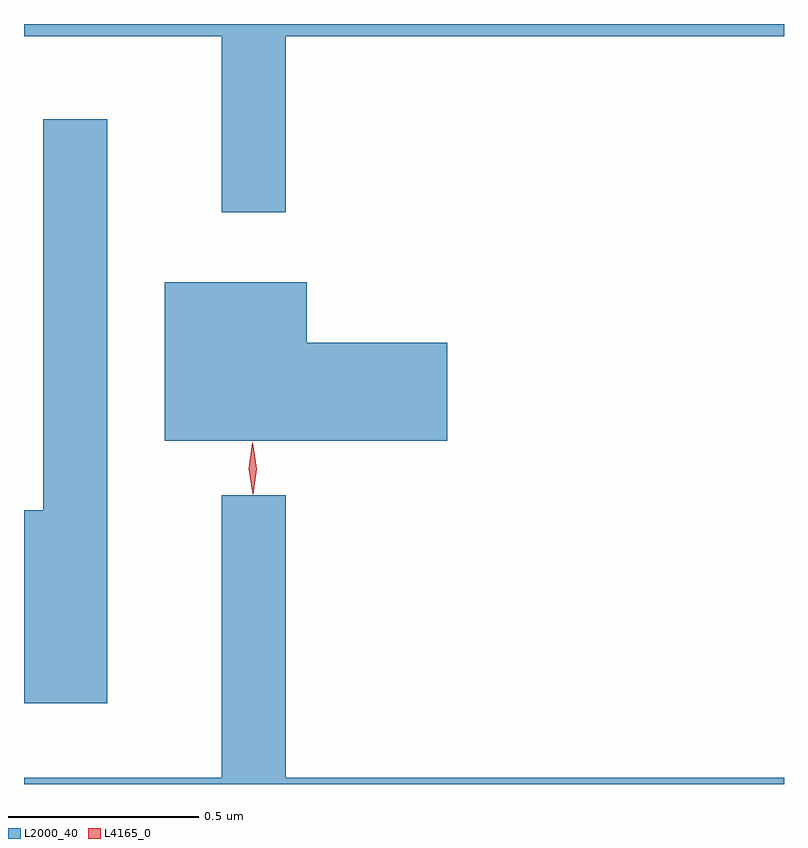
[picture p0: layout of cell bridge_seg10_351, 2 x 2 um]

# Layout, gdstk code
import gdstk
lib = gdstk.Library(unit=1e-6, precision=1e-09)
def P(c, l, *ps):  # polygons
    for p in ps: c.add(gdstk.Polygon(p, *l))
L2000_40 = (2000, 40)
L4165_0 = (4165, 0)

bridge_seg10_351 = lib.new_cell('bridge_seg10_351')
P(bridge_seg10_351, L2000_40, [(1450.869,2156.096),(1452.18,2156.096),(1452.18,2156.128),(1450.18,2156.128),(1450.18,2156.096),(1450.701,2156.096),(1450.701,2155.633),(1450.869,2155.633)],
  [(1450.399,2155.878),(1450.231,2155.878),(1450.231,2154.849),(1450.18,2154.849),(1450.18,2154.341),(1450.399,2154.341)],
  [(1451.294,2155.289),(1450.924,2155.289),(1450.924,2155.449),(1450.551,2155.449),(1450.551,2155.031),(1451.294,2155.031)],
  [(1452.18,2154.144),(1450.869,2154.144),(1450.869,2154.888),(1450.701,2154.888),(1450.701,2154.144),(1450.18,2154.144),(1450.18,2154.128),(1452.18,2154.128)])
P(bridge_seg10_351, L4165_0, [(1450.782,2154.89),(1450.782,2154.89),(1450.772,2154.958),(1450.781,2155.026),(1450.781,2155.026),(1450.782,2155.026),(1450.792,2154.958),(1450.783,2154.89)],
  [(1450.782,2154.893),(1450.782,2154.894),(1450.772,2154.956),(1450.782,2155.019),(1450.782,2155.02),(1450.782,2155.019),(1450.792,2154.956),(1450.783,2154.894)])

lib.write_gds('bridge_seg10_351.gds')
